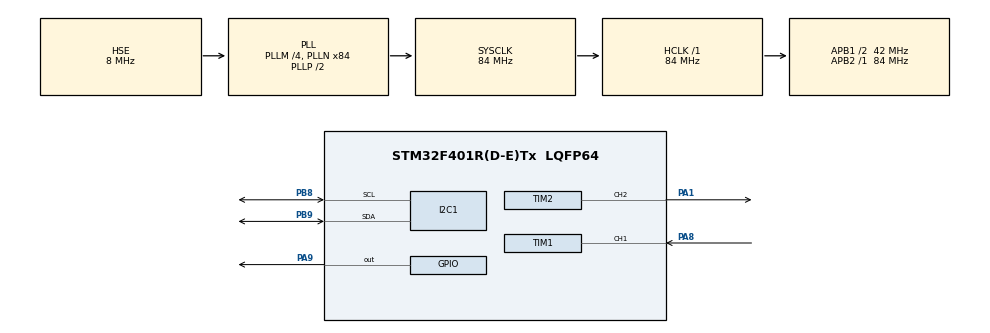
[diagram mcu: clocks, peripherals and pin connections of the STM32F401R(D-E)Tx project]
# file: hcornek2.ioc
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I2C1.I2C_Mode=I2C_Standard
Mcu.Family=STM32F4
Mcu.Name=STM32F401R(D-E)Tx
Mcu.Package=LQFP64
NVIC.PriorityGroup=NVIC_PRIORITYGROUP_0
NVIC.TIM1_CC_IRQn=true\:0\:0\:false\:false\:true\:true\:true\:true
PA1.Signal=S_TIM2_CH2
PA8.Signal=S_TIM1_CH1
PA9.Signal=GPIO_Output
PB8.Mode=I2C
PB8.Signal=I2C1_SCL
PB9.Mode=I2C
PB9.Signal=I2C1_SDA
PH0\ -\ OSC_IN.Mode=HSE-External-Oscillator
PH0\ -\ OSC_IN.Signal=RCC_OSC_IN
PH1\ -\ OSC_OUT.Mode=HSE-External-Oscillator
PH1\ -\ OSC_OUT.Signal=RCC_OSC_OUT
ProjectManager.HeapSize=0x200
ProjectManager.StackSize=0x400
ProjectManager.TargetToolchain=STM32CubeIDE
RCC.48MHZClocksFreq_Value=24000000
RCC.AHBFreq_Value=84000000
RCC.APB1CLKDivider=RCC_HCLK_DIV2
RCC.APB1Freq_Value=42000000
RCC.APB1TimFreq_Value=84000000
RCC.APB2Freq_Value=84000000
RCC.APB2TimFreq_Value=84000000
RCC.CortexFreq_Value=84000000
RCC.HCLKFreq_Value=84000000
RCC.HSE_VALUE=8000000
RCC.HSI_VALUE=16000000
RCC.LSE_VALUE=32768
RCC.PLLM=4
RCC.PLLN=84
RCC.PLLQ=7
RCC.PLLSourceVirtual=RCC_PLLSOURCE_HSE
RCC.SYSCLKFreq_VALUE=84000000
RCC.SYSCLKSource=RCC_SYSCLKSOURCE_PLLCLK
RCC.VCOOutputFreq_Value=168000000
SH.S_TIM1_CH1.0=TIM1_CH1,Input_Capture1_from_TI1
SH.S_TIM2_CH2.0=TIM2_CH2,PWM Generation2 CH2
TIM1.Channel-Input_Capture1_from_TI1=TIM_CHANNEL_1
TIM1.Period=0xffff-1
TIM1.Prescaler=83
TIM2.Channel-PWM\ Generation2\ CH2=TIM_CHANNEL_2
TIM2.Period=1000
TIM2.Prescaler=83
board=NUCLEO-F401RE

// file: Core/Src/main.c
/* USER CODE BEGIN Header */
/**
  ******************************************************************************
  * @file           : main.c
  * @brief          : Main program body
  ******************************************************************************
  * @attention
  *
  * Copyright (c) 2023 STMicroelectronics.
  * All rights reserved.
  *
  * This software is licensed under terms that can be found in the LICENSE file
  * in the root directory of this software component.
  * If no LICENSE file comes with this software, it is provided AS-IS.
  *
  ******************************************************************************
  */
/* USER CODE END Header */
#include "main.h"

/* USER CODE BEGIN Includes */
#include "i2c-lcd.h"
#include "string.h"
#include "stdio.h"
/* USER CODE END Includes */

I2C_HandleTypeDef hi2c1;

TIM_HandleTypeDef htim1;
TIM_HandleTypeDef htim2;

void SystemClock_Config(void);
static void MX_GPIO_Init(void);
static void MX_TIM1_Init(void);
static void MX_TIM2_Init(void);
static void MX_I2C1_Init(void);

/* USER CODE BEGIN 0 */
void delay (uint16_t time)
{
	__HAL_TIM_SET_COUNTER(&htim1, 0);
	while (__HAL_TIM_GET_COUNTER (&htim1) < time);
}

uint32_t IC_Val1 = 0;
uint32_t IC_Val2 = 0;
uint32_t Difference = 0;
uint8_t Is_First_Captured = 0;  // is the first value captured ?
float Distance  = 0;
#define TRIG_PIN GPIO_PIN_9
#define TRIG_PORT GPIOA
char buff[16];
// Let's write the callback function

void HAL_TIM_IC_CaptureCallback(TIM_HandleTypeDef *htim)
{
	if (htim->Channel == HAL_TIM_ACTIVE_CHANNEL_1)  // if the interrupt source is channel1
	{
		if (Is_First_Captured==0) // if the first value is not captured
		{
			IC_Val1 = HAL_TIM_ReadCapturedValue(htim, TIM_CHANNEL_1); // read the first value
			Is_First_Captured = 1;  // set the first captured as true
			// Now change the polarity to falling edge
			__HAL_TIM_SET_CAPTUREPOLARITY(htim, TIM_CHANNEL_1, TIM_INPUTCHANNELPOLARITY_FALLING);
		}

		else if (Is_First_Captured==1)   // if the first is already captured
		{
			IC_Val2 = HAL_TIM_ReadCapturedValue(htim, TIM_CHANNEL_1);  // read second value
			__HAL_TIM_SET_COUNTER(htim, 0);  // reset the counter

			if (IC_Val2 > IC_Val1)
			{
				Difference = IC_Val2-IC_Val1;
			}

			else if (IC_Val1 > IC_Val2)
			{
				Difference = (0xffff - IC_Val1) + IC_Val2;
			}

			Distance = (float)Difference * .034/2.0f;
			Is_First_Captured = 0; // set it back to false

			// set polarity to rising edge
			__HAL_TIM_SET_CAPTUREPOLARITY(htim, TIM_CHANNEL_1, TIM_INPUTCHANNELPOLARITY_RISING);
			__HAL_TIM_DISABLE_IT(&htim1, TIM_IT_CC1);
		}
	}
}

void HCSR04_Read (void)
{
	HAL_GPIO_WritePin(TRIG_PORT, TRIG_PIN, GPIO_PIN_SET);  // pull the TRIG pin HIGH
	delay(10);  // wait for 10 us
	HAL_GPIO_WritePin(TRIG_PORT, TRIG_PIN, GPIO_PIN_RESET);  // pull the TRIG pin low

	__HAL_TIM_ENABLE_IT(&htim1, TIM_IT_CC1);

}
void display_lcd(float distance)
{
  lcd_clear();
  lcd_send_cmd(0xC2); // Set cursor to second line, first column
  snprintf(buff, sizeof(buff), "%.2f cm", distance); // Convert float to string with 2 decimal places
  lcd_send_string(buff); // Display the distance value
}
/* USER CODE END 0 */

int main(void)
{

  /* MCU Configuration--------------------------------------------------------*/

  /* Reset of all peripherals, Initializes the Flash interface and the Systick. */
  HAL_Init();

  /* Configure the system clock */
  SystemClock_Config();

  /* Initialize all configured peripherals */
  MX_GPIO_Init();
  MX_TIM1_Init();
  MX_TIM2_Init();
  MX_I2C1_Init();
  /* USER CODE BEGIN 2 */
  HAL_TIM_IC_Start_IT(&htim1, TIM_CHANNEL_1);
  lcd_init();
  lcd_send_cmd(0x01);
  /* USER CODE END 2 */

  /* Infinite loop */
  while (1)
  {

    /* USER CODE BEGIN 3 */
	  HCSR04_Read();

	  if(Distance>25)
	  {
		  HAL_TIM_PWM_Stop(&htim2, TIM_CHANNEL_2);
	  }
	  else if(Distance>=7 && Distance <=25)
	  {
	  HAL_TIM_PWM_Start(&htim2, TIM_CHANNEL_2);
	  HAL_Delay(Difference/7);
	  HAL_TIM_PWM_Stop(&htim2, TIM_CHANNEL_2);
	  HAL_Delay(Difference/7);
	      }
	  else
	  {
		  HAL_TIM_PWM_Start(&htim2, TIM_CHANNEL_2);
	  }
          display_lcd(Distance);
	  HAL_Delay(50);

  }
  /* USER CODE END 3 */
}

void SystemClock_Config(void)
{
  RCC_OscInitTypeDef RCC_OscInitStruct = {0};
  RCC_ClkInitTypeDef RCC_ClkInitStruct = {0};

  /** Configure the main internal regulator output voltage
  */
  __HAL_RCC_PWR_CLK_ENABLE();
  __HAL_PWR_VOLTAGESCALING_CONFIG(PWR_REGULATOR_VOLTAGE_SCALE2);

  /** Initializes the RCC Oscillators according to the specified parameters
  * in the RCC_OscInitTypeDef structure.
  */
  RCC_OscInitStruct.OscillatorType = RCC_OSCILLATORTYPE_HSE;
  RCC_OscInitStruct.HSEState = RCC_HSE_ON;
  RCC_OscInitStruct.PLL.PLLState = RCC_PLL_ON;
  RCC_OscInitStruct.PLL.PLLSource = RCC_PLLSOURCE_HSE;
  RCC_OscInitStruct.PLL.PLLM = 4;
  RCC_OscInitStruct.PLL.PLLN = 84;
  RCC_OscInitStruct.PLL.PLLP = RCC_PLLP_DIV2;
  RCC_OscInitStruct.PLL.PLLQ = 7;
  if (HAL_RCC_OscConfig(&RCC_OscInitStruct) != HAL_OK)
  {
    Error_Handler();
  }

  /** Initializes the CPU, AHB and APB buses clocks
  */
  RCC_ClkInitStruct.ClockType = RCC_CLOCKTYPE_HCLK|RCC_CLOCKTYPE_SYSCLK
                              |RCC_CLOCKTYPE_PCLK1|RCC_CLOCKTYPE_PCLK2;
  RCC_ClkInitStruct.SYSCLKSource = RCC_SYSCLKSOURCE_PLLCLK;
  RCC_ClkInitStruct.AHBCLKDivider = RCC_SYSCLK_DIV1;
  RCC_ClkInitStruct.APB1CLKDivider = RCC_HCLK_DIV2;
  RCC_ClkInitStruct.APB2CLKDivider = RCC_HCLK_DIV1;

  if (HAL_RCC_ClockConfig(&RCC_ClkInitStruct, FLASH_LATENCY_2) != HAL_OK)
  {
    Error_Handler();
  }
}

static void MX_I2C1_Init(void)
{

  hi2c1.Instance = I2C1;
  hi2c1.Init.ClockSpeed = 100000;
  hi2c1.Init.DutyCycle = I2C_DUTYCYCLE_2;
  hi2c1.Init.OwnAddress1 = 0;
  hi2c1.Init.AddressingMode = I2C_ADDRESSINGMODE_7BIT;
  hi2c1.Init.DualAddressMode = I2C_DUALADDRESS_DISABLE;
  hi2c1.Init.OwnAddress2 = 0;
  hi2c1.Init.GeneralCallMode = I2C_GENERALCALL_DISABLE;
  hi2c1.Init.NoStretchMode = I2C_NOSTRETCH_DISABLE;
  if (HAL_I2C_Init(&hi2c1) != HAL_OK)
  {
    Error_Handler();
  }

}

static void MX_TIM1_Init(void)
{

  TIM_MasterConfigTypeDef sMasterConfig = {0};
  TIM_IC_InitTypeDef sConfigIC = {0};

  htim1.Instance = TIM1;
  htim1.Init.Prescaler = 83;
  htim1.Init.CounterMode = TIM_COUNTERMODE_UP;
  htim1.Init.Period = 0xffff-1;
  htim1.Init.ClockDivision = TIM_CLOCKDIVISION_DIV1;
  htim1.Init.RepetitionCounter = 0;
  htim1.Init.AutoReloadPreload = TIM_AUTORELOAD_PRELOAD_DISABLE;
  if (HAL_TIM_IC_Init(&htim1) != HAL_OK)
  {
    Error_Handler();
  }
  sMasterConfig.MasterOutputTrigger = TIM_TRGO_RESET;
  sMasterConfig.MasterSlaveMode = TIM_MASTERSLAVEMODE_DISABLE;
  if (HAL_TIMEx_MasterConfigSynchronization(&htim1, &sMasterConfig) != HAL_OK)
  {
    Error_Handler();
  }
  sConfigIC.ICPolarity = TIM_INPUTCHANNELPOLARITY_RISING;
  sConfigIC.ICSelection = TIM_ICSELECTION_DIRECTTI;
  sConfigIC.ICPrescaler = TIM_ICPSC_DIV1;
  sConfigIC.ICFilter = 0;
  if (HAL_TIM_IC_ConfigChannel(&htim1, &sConfigIC, TIM_CHANNEL_1) != HAL_OK)
  {
    Error_Handler();
  }

}

static void MX_TIM2_Init(void)
{

  TIM_MasterConfigTypeDef sMasterConfig = {0};
  TIM_OC_InitTypeDef sConfigOC = {0};

  htim2.Instance = TIM2;
  htim2.Init.Prescaler = 83;
  htim2.Init.CounterMode = TIM_COUNTERMODE_UP;
  htim2.Init.Period = 1000;
  htim2.Init.ClockDivision = TIM_CLOCKDIVISION_DIV1;
  htim2.Init.AutoReloadPreload = TIM_AUTORELOAD_PRELOAD_DISABLE;
  if (HAL_TIM_PWM_Init(&htim2) != HAL_OK)
  {
    Error_Handler();
  }
  sMasterConfig.MasterOutputTrigger = TIM_TRGO_RESET;
  sMasterConfig.MasterSlaveMode = TIM_MASTERSLAVEMODE_DISABLE;
  if (HAL_TIMEx_MasterConfigSynchronization(&htim2, &sMasterConfig) != HAL_OK)
  {
    Error_Handler();
  }
  sConfigOC.OCMode = TIM_OCMODE_PWM1;
  sConfigOC.Pulse = 0;
  sConfigOC.OCPolarity = TIM_OCPOLARITY_HIGH;
  sConfigOC.OCFastMode = TIM_OCFAST_DISABLE;
  if (HAL_TIM_PWM_ConfigChannel(&htim2, &sConfigOC, TIM_CHANNEL_2) != HAL_OK)
  {
    Error_Handler();
  }
  HAL_TIM_MspPostInit(&htim2);

}

static void MX_GPIO_Init(void)
{
  GPIO_InitTypeDef GPIO_InitStruct = {0};

  /* GPIO Ports Clock Enable */
  __HAL_RCC_GPIOH_CLK_ENABLE();
  __HAL_RCC_GPIOA_CLK_ENABLE();
  __HAL_RCC_GPIOB_CLK_ENABLE();

  /*Configure GPIO pin Output Level */
  HAL_GPIO_WritePin(GPIOA, GPIO_PIN_9, GPIO_PIN_RESET);

  /*Configure GPIO pin : PA9 */
  GPIO_InitStruct.Pin = GPIO_PIN_9;
  GPIO_InitStruct.Mode = GPIO_MODE_OUTPUT_PP;
  GPIO_InitStruct.Pull = GPIO_NOPULL;
  GPIO_InitStruct.Speed = GPIO_SPEED_FREQ_LOW;
  HAL_GPIO_Init(GPIOA, &GPIO_InitStruct);

}

void Error_Handler(void)
{
  __disable_irq();
  while (1)
  {
  }
}
